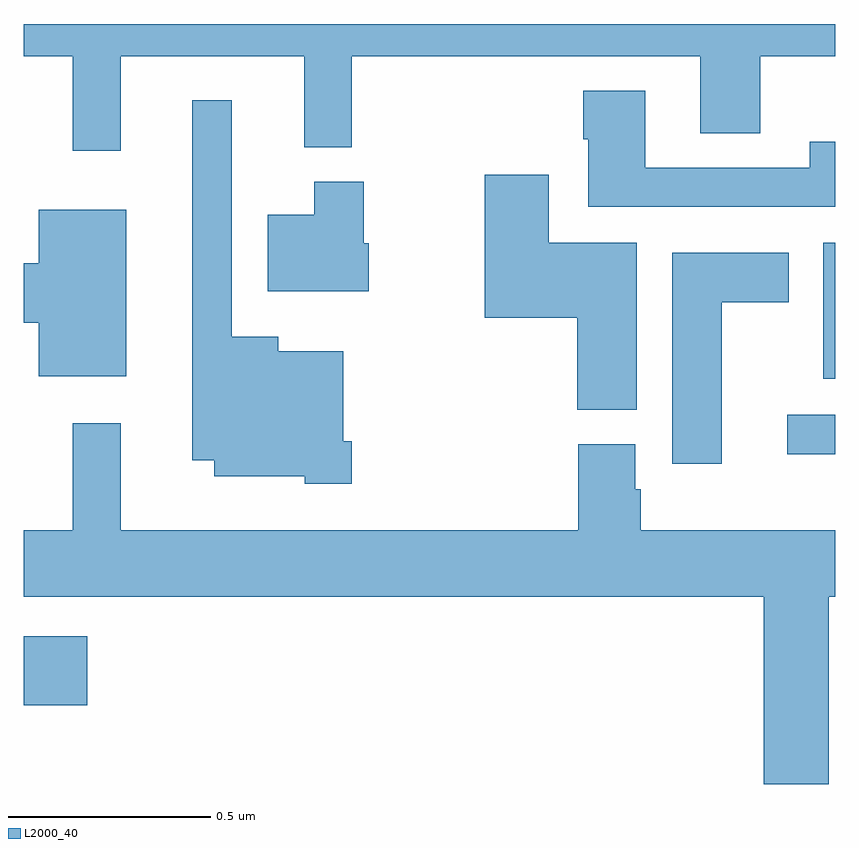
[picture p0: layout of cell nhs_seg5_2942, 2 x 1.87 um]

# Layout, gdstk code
import gdstk
lib = gdstk.Library(unit=1e-6, precision=1e-09)
def R(c, l, rs):  # rectangles x0, y0, x1, y1
    for r in rs: c.add(gdstk.rectangle(r[:2], r[2:], *l))
def P(c, l, *ps):  # polygons
    for p in ps: c.add(gdstk.Polygon(p, *l))
L2000_40 = (2000, 40)

nhs_seg5_2942 = lib.new_cell('nhs_seg5_2942')
R(nhs_seg5_2942, L2000_40, [(150,895.121,150.157,895.291), (151.881,895.739,152,895.836), (151.97,895.925,152,896.26)])
P(nhs_seg5_2942, L2000_40, [(150,896.72),(150.121,896.72),(150.121,896.487),(150.239,896.487),(150.239,896.72),(150.692,896.72),(150.692,896.495),(150.809,896.495),(150.809,896.72),(151.667,896.72),(151.667,896.53),(151.815,896.53),(151.815,896.72),(152,896.72),(152,896.799),(150,896.799)],
  [(152,896.509),(151.936,896.509),(151.936,896.445),(151.531,896.445),(151.531,896.635),(151.379,896.635),(151.379,896.515),(151.391,896.515),(151.391,896.349),(152,896.349)],
  [(150.809,895.771),(150.787,895.771),(150.787,895.993),(150.628,895.993),(150.628,896.029),(150.513,896.029),(150.513,896.611),(150.416,896.611),(150.416,895.724),(150.47,895.724),(150.47,895.685),(150.693,895.685),(150.693,895.667),(150.809,895.667)],
  [(151.51,896.26),(151.294,896.26),(151.294,896.428),(151.136,896.428),(151.136,896.075),(151.364,896.075),(151.364,895.849),(151.51,895.849)],
  [(150.85,896.259),(150.838,896.259),(150.838,896.41),(150.716,896.41),(150.716,896.329),(150.602,896.329),(150.602,896.141),(150.85,896.141)],
  [(150.253,896.341),(150.038,896.341),(150.038,896.21),(150,896.21),(150,896.063),(150.038,896.063),(150.038,895.931),(150.253,895.931)],
  [(151.72,896.114),(151.885,896.114),(151.885,896.236),(151.598,896.236),(151.598,895.716),(151.72,895.716)],
  [(151.983,895.388),(152,895.388),(152,895.552),(151.52,895.552),(151.52,895.653),(151.507,895.653),(151.507,895.764),(151.367,895.764),(151.367,895.552),(150.24,895.552),(150.24,895.816),(150.121,895.816),(150.121,895.552),(150,895.552),(150,895.388),(151.823,895.388),(151.823,894.927),(151.983,894.927)])

lib.write_gds('nhs_seg5_2942.gds')
